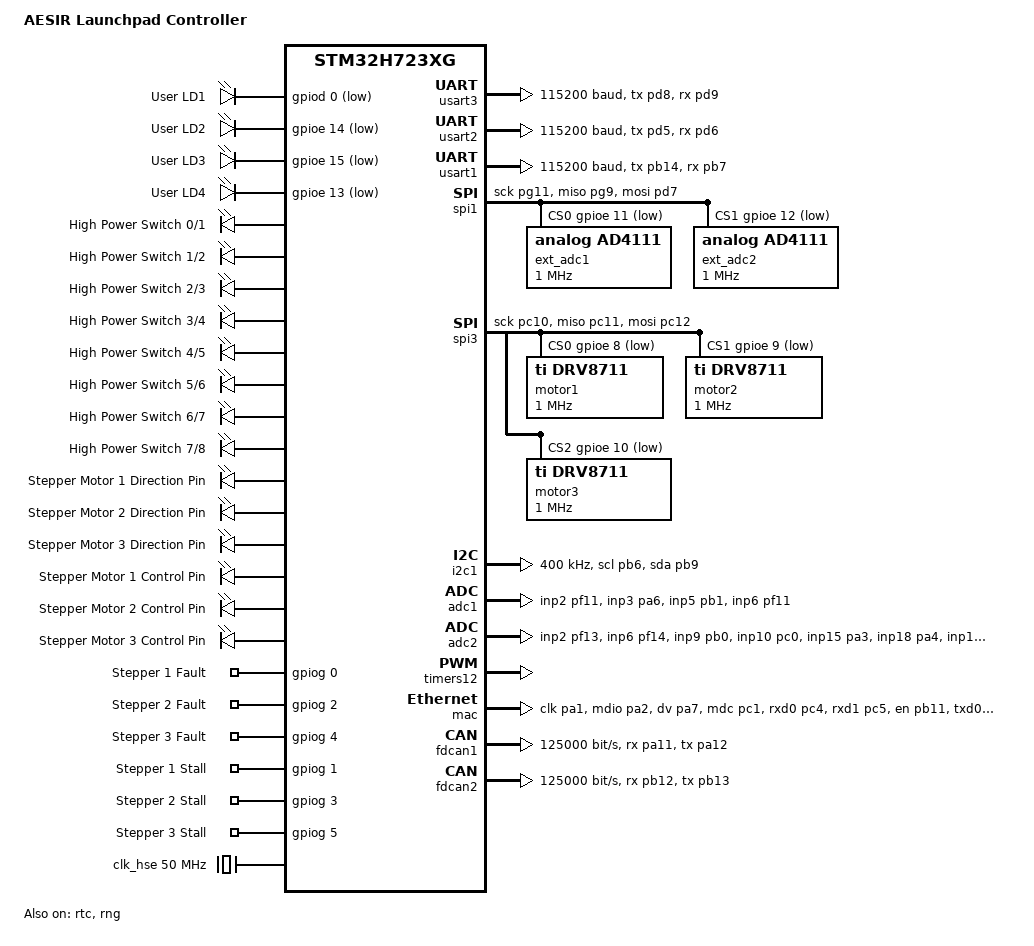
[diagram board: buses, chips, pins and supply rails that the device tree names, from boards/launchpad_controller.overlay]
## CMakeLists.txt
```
cmake_minimum_required(VERSION 3.20.0)

set(BOARD_ROOT ${CMAKE_CURRENT_LIST_DIR})

list(APPEND ZEPHYR_EXTRA_MODULES
    ${CMAKE_CURRENT_SOURCE_DIR}/modules/ad4111
    ${CMAKE_CURRENT_SOURCE_DIR}/modules/drv8711
)

find_package(Zephyr REQUIRED HINTS $ENV{ZEPHYR_BASE})
project(launchpad_controller)

#list(APPEND CMAKE_MODULE_PATH ${ZEPHYR_BASE}/modules/nanopb)
#include(nanopb)

# zephyr_nanopb_sources(app src/surtr.proto)

target_sources(app PRIVATE
    src/main.c
    src/actuation.c
    src/dhcp.c
    src/in.c
    src/packet.c
    src/server.c
    src/circbuf.c
    src/uart.c
)
```

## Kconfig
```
menu "Zephyr"
source "Kconfig.zephyr"
endmenu

config APP_LOG_LEVEL
    int "Application log level"
    default 0 if APP_LOG_LEVEL_OFF
    default 1 if APP_LOG_LEVEL_ERR
    default 2 if APP_LOG_LEVEL_WRN
    default 3 if APP_LOG_LEVEL_INF
    default 4 if APP_LOG_LEVEL_DBG
    default 4
    depends on LOG
```

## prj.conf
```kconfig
# CONFIG_THREAD_ANALYZER=y
# CONFIG_THREAD_ANALYZER_USE_PRINTK=y
# CONFIG_THREAD_NAME=y
# CONFIG_THREAD_ANALYZER_AUTO=y
# CONFIG_THREAD_ANALYZER_AUTO_INTERVAL=5

CONFIG_LOG=y
#CONFIG_LOG_MODE_DEFERRED=y      # Deferred means threads are prioritized
#CONFIG_LOG_BUFFER_SIZE=4096     # Has to be set together with Deferred.
CONFIG_LOG_MODE_IMMEDIATE=y    # Prints are prioritized, will make buffer useless.
CONFIG_APP_LOG_LEVEL=4
CONFIG_DEBUG=y
# CONFIG_DEBUG_OPTIMIZATIONS=y

# CONFIG_ISR_STACK_SIZE=4096

CONFIG_ZBUS=y

CONFIG_CRC=y

CONFIG_COMPILER_OPT="-Wno-double-promotion"

# General config
CONFIG_REQUIRES_FULL_LIBC=y

# Networking config
CONFIG_NETWORKING=y
CONFIG_NET_IPV4=y
CONFIG_NET_IPV6=y
CONFIG_NET_ARP=y
CONFIG_NET_UDP=y
CONFIG_NET_TCP=y
CONFIG_NET_SOCKETS=y
CONFIG_POSIX_API=y
CONFIG_NET_DHCPV4=y
CONFIG_NET_DHCPV4_OPTION_CALLBACKS=y
CONFIG_DNS_RESOLVER=y
CONFIG_MDNS_RESPONDER=y

CONFIG_NET_HOSTNAME_ENABLE=y
CONFIG_NET_HOSTNAME_UNIQUE=n
CONFIG_NET_HOSTNAME="surtr"

CONFIG_NET_MGMT=y
CONFIG_NET_MGMT_EVENT=y

# Network driver config
CONFIG_TEST_RANDOM_GENERATOR=y

CONFIG_NANOPB=y

# Networking tweaks
# Required to handle large number of consecutive connections,
# e.g. when testing with ApacheBench.
# CONFIG_NET_TCP_TIME_WAIT_DELAY=0

# Network debug config
CONFIG_NET_LOG=y
CONFIG_NET_SHELL=y

# TODO: Possibly required to change to this with new Zephyr POSIX API config, review
# CONFIG_POSIX_C_LIB_EXT=y
# CONFIG_POSIX_AEP_CHOICE_PSE53=y

CONFIG_SPI=y

# Sensor config
CONFIG_SENSOR=y
# CONFIG_SENSOR_LOG_LEVEL_DBG=y

# CONFIG_NET_CONFIG_SETTINGS=y
# CONFIG_NET_CONFIG_NEED_IPV4=y
# CONFIG_NET_CONFIG_NEED_IPV6=y
# CONFIG_NET_CONFIG_MY_IPV4_ADDR="192.0.2.1"
# CONFIG_NET_CONFIG_PEER_IPV4_ADDR="192.0.2.2"

CONFIG_NET_SOCKETS_POLL_MAX=8


CONFIG_HEAP_MEM_POOL_SIZE=50000
CONFIG_MAIN_STACK_SIZE=16384
```

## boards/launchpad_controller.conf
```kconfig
CONFIG_SERIAL=y
CONFIG_UART_INTERRUPT_DRIVEN=y
CONFIG_CONSOLE=y
CONFIG_UART_CONSOLE=y

CONFIG_LOG=y
CONFIG_CBPRINTF_FP_SUPPORT=y

CONFIG_FPU=y
CONFIG_FPU_SHARING=y

CONFIG_SERIAL=y
# CONFIG_UART_INTERRUPT_DRIVEN=y
CONFIG_UART_WIDE_DATA=y
CONFIG_CONSOLE=y
CONFIG_UART_CONSOLE=y
CONFIG_POLL=y
```

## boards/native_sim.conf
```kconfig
CONFIG_ETH_NATIVE_POSIX=n
CONFIG_NET_DRIVERS=y
CONFIG_NET_SOCKETS=y
CONFIG_NET_SOCKETS_OFFLOAD=y
CONFIG_NET_NATIVE_OFFLOADED_SOCKETS=y
CONFIG_HEAP_MEM_POOL_SIZE=1024

# IPv6 DAD requires lower level network interface access, below exposed socket-level access
CONFIG_NET_IPV6_DAD=n
```

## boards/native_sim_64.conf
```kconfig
# CONFIG_ETH_NATIVE_POSIX=y
# CONFIG_NET_DRIVERS=y
# CONFIG_NET_SOCKETS=y
# CONFIG_NET_SOCKETS_OFFLOAD=y
#CONFIG_NET_NATIVE_OFFLOADED_SOCKETS=y
CONFIG_HEAP_MEM_POOL_SIZE=4096

CONFIG_EMUL=y

# SPI configuration
CONFIG_SPI=y
CONFIG_SPI_EMUL=y

# GPIO configuration
CONFIG_GPIO=y

# ADC configuration
CONFIG_ADC=y
CONFIG_ADC_INIT_PRIORITY=50

# CONFIG_SYS_CLOCK_TICKS_PER_SEC = 1000000

CONFIG_ASAN=y
CONFIG_UBSAN=y

CONFIG_NET_CONFIG_SETTINGS=y
CONFIG_NET_CONFIG_NEED_IPV4=y
CONFIG_NET_CONFIG_NEED_IPV6=y
CONFIG_NET_CONFIG_MY_IPV4_ADDR="192.0.2.1"
CONFIG_NET_CONFIG_PEER_IPV4_ADDR="192.0.2.2"
```

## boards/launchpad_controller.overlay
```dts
/*
 * Copyright (c) 2020 Alexander Kozhinov <AlexanderKozhinov@yandex.com>
 * SPDX-License-Identifier: Apache-2.0
 */

 /dts-v1/;
 #include <st/h7/stm32h723Xg.dtsi>
 #include <st/h7/stm32h723zgtx-pinctrl.dtsi>
 #include <zephyr/dt-bindings/input/input-event-codes.h>
 
 /*
  * WARNING:
  * JP6 and SB72 must be ON when using Ethernet.
  */
 
 / {
     model = "AESIR Launchpad Controller";
     compatible = "st,launchpad_controller";
 
     chosen {
         zephyr,console = &usart3; /* TODO: change to whatever ST-LINK uses */
         zephyr,shell-uart = &usart3; /* TODO: same? or maybe usart1 */
         zephyr,dtcm = &dtcm;
         zephyr,sram = &sram0;
         zephyr,flash = &flash0;
     };
 
     leds: leds {
         compatible = "gpio-leds";
         green_led: led_0 {
             gpios = <&gpiod 0 GPIO_ACTIVE_LOW>;
             label = "User LD1";
         };
         yellow_led: led_1 {
             gpios = <&gpioe 14 GPIO_ACTIVE_LOW>;
             label = "User LD2";
         };
         red_led: led_2 {
             gpios = <&gpioe 15 GPIO_ACTIVE_LOW>;
             label = "User LD3";
         };
         blue_led: led_3 {
             gpios = <&gpioe 13 GPIO_ACTIVE_LOW>;
             label = "User LD4";
         };
     };
 
     switches: switches {
         compatible = "gpio-leds"; /* why is this driver called LEDs lol */
         /* TODO: rewrite to have switches numbered by physical placement */
         switch0: switch_0 {
             gpios <&gpiod 8 GPIO_ACTIVE_HIGH>;
             label = "High Power Switch 0/1";
         };
         switch1: switch_1 {
             gpios <&gpiod 9 GPIO_ACTIVE_HIGH>;
             label = "High Power Switch 1/2";
         };
         switch2: switch_2 {
             gpios <&gpiod 10 GPIO_ACTIVE_HIGH>;
             label = "High Power Switch 2/3";
         };
         switch3: switch_3 {
             gpios <&gpiod 11 GPIO_ACTIVE_HIGH>;
             label = "High Power Switch 3/4";
         };
         switch4: switch_4 {
             gpios <&gpiod 12 GPIO_ACTIVE_HIGH>;
             label = "High Power Switch 4/5";
         };
         switch5: switch_5 {
             gpios <&gpiod 13 GPIO_ACTIVE_HIGH>;
             label = "High Power Switch 5/6";
         };
         switch6: switch_6 {
             gpios <&gpiod 14 GPIO_ACTIVE_HIGH>;
             label = "High Power Switch 6/7";
         };
         switch7: switch_7 {
             gpios <&gpiod 15 GPIO_ACTIVE_HIGH>;
             label = "High Power Switch 7/8";
         };
     };
 
     /*
     pwmleds {
         compatible = "pwm-leds";
 
         red_pwm_led: red_pwm_led {
             pwms = <&pwm12 1 PWM_MSEC(20) PWM_POLARITY_NORMAL>;
             label = "User LD3 - PWM12";
         };
     };
     */
 
     stepctrls : stepper_controls {
         compatible = "gpio-leds";
         step1_dir : stepper1_direction {
             gpios <&gpiod 2 GPIO_ACTIVE_HIGH>;
             label = "Stepper Motor 1 Direction Pin";			
         };
 
         step2_dir : stepper2_direction {
             gpios <&gpiod 4 GPIO_ACTIVE_HIGH>;
             label = "Stepper Motor 2 Direction Pin";			
         };
 
         step3_dir : stepper3_direction {
             gpios <&gpiod 6 GPIO_ACTIVE_HIGH>;
             label = "Stepper Motor 3 Direction Pin";			
         };
 
         step1_ctrl : stepper1_control {
             gpios <&gpiod 1 GPIO_ACTIVE_HIGH>;
             label = "Stepper Motor 1 Control Pin";			
         };
 
         step2_ctrl : stepper2_control {
             gpios <&gpiod 3 GPIO_ACTIVE_HIGH>;
             label = "Stepper Motor 2 Control Pin";			
         };
 
         step3_ctrl : stepper3_control {
             gpios <&gpiod 5 GPIO_ACTIVE_HIGH>;
             label = "Stepper Motor 3 Control Pin";			
         };
     };
 
     // gpio_keys {
     // 	compatible = "gpio-keys";
     // 	user_button: button_0 {
     // 		label = "User";
     // 		gpios = <&gpioc 13 GPIO_ACTIVE_HIGH>;
     // 		zephyr,code = <INPUT_KEY_0>;
     // 	};
     // };
 
     step_states : stepper_state_pins {
         compatible = "gpio-keys"; // TODO: change to a more generic GPIO input driver? 
         step1_nFault : stepper1_state1 {
             label = "Stepper 1 Fault";
             gpios = <&gpiog 0 GPIO_ACTIVE_HIGH>;
         };
         step2_nFault : stepper2_state1 {
             label = "Stepper 2 Fault";
             gpios = <&gpiog 2 GPIO_ACTIVE_HIGH>;
         };
         step3_nFault : stepper3_state1 {
             label = "Stepper 3 Fault";
             gpios = <&gpiog 4 GPIO_ACTIVE_HIGH>;
         };
 
         step1_nFault : stepper1_state2 {
             label = "Stepper 1 Stall";
             gpios = <&gpiog 1 GPIO_ACTIVE_HIGH>;
         };
         step2_nFault : stepper2_state2 {
             label = "Stepper 2 Stall";
             gpios = <&gpiog 3 GPIO_ACTIVE_HIGH>;
         };
         step3_nFault : stepper3_state2 {
             label = "Stepper 3 Stall";
             gpios = <&gpiog 5 GPIO_ACTIVE_HIGH>;
         };
     }
 
     aliases {
         led0 = &green_led;
         led1 = &yellow_led;
         led2 = &red_led;
         led3 = &blue_led;
         /* pwm-led0 = &red_pwm_led; */
         sw0 = &user_button;
     };
 };
 
 &clk_lsi {
     status = "okay";
 };
 
 &clk_hsi48 {
     status = "okay";
 };
 
 &clk_hse {
     hse-bypass;
     clock-frequency = <DT_FREQ_M(50)>; /* 50MHz oscillator */
     status = "okay";
 };
 
 &clk_lse {
     status = "okay";
 };
 
 &pll {
     div-m = <4>;
     mul-n = <275>;
     div-p = <1>;
     div-q = <4>;
     div-r = <2>;
     clocks = <&clk_hse>;
     status = "okay";
 };
 
 // TODO: fix according to
 &rcc {
     clocks = <&pll>;
     clock-frequency = <DT_FREQ_M(550)>;
     d1cpre = <1>;
     hpre = <2>;    /* HCLK: 275   MHz */
     d1ppre = <2>;  /* APB1: 137.5 MHz */
     d2ppre1 = <2>; /* APB2: 137.5 MHz */
     d2ppre2 = <2>; /* APB3: 137.5 MHz */
     d3ppre = <2>;  /* APB4: 137.5 MHz */
 };
 
 &usart3 {
     pinctrl-0 = <&usart3_tx_pd8 &usart3_rx_pd9>;
     pinctrl-names = "default";
     current-speed = <115200>;
     status = "okay";
 };
 
 &usart2 {
     pinctrl-0 = <&usart2_tx_pd5 &usart2_rx_pd6>;
     pinctrl-names = "default";
     current-speed = <115200>;
     status = "okay";
 };
 
 
 /* TODO: can't use USART1! Check CubeMX and fix */
 &usart1 {
     pinctrl-0 = <&usart1_tx_pb14 &usart1_rx_pb7>;
     pinctrl-names = "default";
     current-speed = <115200>;
     status = "okay";
 };
 
 
 &rtc {
     clocks = <&rcc STM32_CLOCK_BUS_APB4 0x00010000>,
          <&rcc STM32_SRC_LSI RTC_SEL(2)>;
     status = "okay";
 };
 
 // spi1 is for the ADCs
 // ADC1_CS on PE11, ADC2_CS on PE12
 &spi1 {
     status = "okay";
     pinctrl-0 = <&spi1_sck_pg11 &spi1_miso_pg9 &spi1_mosi_pd7>;
     pinctrl-names = "default";
     cs-gpios = <&gpioe 11 (GPIO_ACTIVE_LOW | GPIO_PULL_UP)>,
      <&gpioe 12 (GPIO_ACTIVE_LOW | GPIO_PULL_UP)>;
 
     ext_adc1: ad4111_1@0 {
         compatible="analog,ad4111";
         reg = <0>; // should be referring to the CS line??
         spi-max-frequency = <1000000>; // TODO: randomly 1MHz, verify with datasheet
     };
 
     ext_adc2: ad4111_2@1 {
         compatible="analog,ad4111";
         reg = <1>; // should be referring to the CS line??
         spi-max-frequency = <1000000>; // TODO: randomly 1MHz, verify with datasheet
     };
 };
 
 // spi3 is for the stepper drivers
 // MOTOR1_SCS on PE8 MOTOR2_SCS on PE9 MOTOR3_SCS on PE10 
 &spi3 {
     status = "okay";
     pinctrl-0 = <&spi3_sck_pc10 &spi1_miso_pc11 &spi1_mosi_pc12>;
     pinctrl-names = "default";
     cs-gpios = <&gpioe 8 (GPIO_ACTIVE_LOW | GPIO_PULL_UP)>,
      <&gpioe 9 (GPIO_ACTIVE_LOW | GPIO_PULL_UP)>,
      <&gpioe 10 (GPIO_ACTIVE_LOW | GPIO_PULL_UP)>;
     
     motor1 : motor36v4_1@0 {
         compatible="ti,drv8711";
         reg = <0>;
         spi-max-frequency=<1000000>;
     };
 
     motor2 : motor36v4_2@1 {
         compatible="ti,drv8711";
         reg = <1>;
         spi-max-frequency=<1000000>;
     };
 
     motor3 : motor36v4_3@2 {
         compatible="ti,drv8711";
         reg = <2>;
         spi-max-frequency=<1000000>;
     };
 };
 
 
 // spi5 is exposed on the header. can be used later, disabled for now
 &spi5 {
     status = "disabled";
     pinctrl-0 = <&spi5_sck_pf7 &spi5_miso_pf8 &spi5_mosi_pf9>;
     pinctrl-names = "default";
     cs-gpios = <&gpioe 8 (GPIO_ACTIVE_LOW | GPIO_PULL_UP)>,
      <&gpioe 9 (GPIO_ACTIVE_LOW | GPIO_PULL_UP)>,
      <&gpioe 10 (GPIO_ACTIVE_LOW | GPIO_PULL_UP)>;
 };
 
 
 /* checked */
 &i2c1 {
     pinctrl-0 = <&i2c1_scl_pb6 &i2c1_sda_pb9>;
     pinctrl-names = "default";
     status = "okay";
     clock-frequency = <I2C_BITRATE_FAST>;
 };
 
 /* checked */
 // i2c2 is exposed on the header. can be used later, disabled for now
 &i2c2 {
     pinctrl-0 = <&i2c2_scl_pf1 &i2c2_sda_pf0>;
     pinctrl-names = "default";
     status = "disabled";
     clock-frequency = <I2C_BITRATE_FAST>;
 };
 
 // TODO: check how to define single-ended ADC measurement
 &adc1 {
     pinctrl-0 = <&adc1_inp2_pf11 &adc1_inp3_pa6 &adc1_inp5_pb1 &adc1_inp6_pf11>;
     pinctrl-names = "default";
 
     // #address-cells = <1>;
     // #size-cells = <0>;
     // status = "okay";
     st,adc-clock-source = < 1 >; // TODO: review which clock source this refers to
     st,adc-prescaler = < 1 >;
 
     // channel@F {
     // 	reg = <15>; //15
     // 	zephyr,gain = "ADC_GAIN_1";
     // 	zephyr,reference = "ADC_REF_INTERNAL";
     // 	zephyr,acquisition-time = <ADC_ACQ_TIME_DEFAULT>;
     // 	zephyr,resolution = <14>;
     // 	zephyr,oversampling = <4>;
     // 	status = "okay";
     // };
 };
 
 &adc2 {
     pinctrl-0 = <&adc2_inp2_pf13 &adc2_inp6_pf14
     &adc2_inp9_pb0 &adc2_inp10_pc0
     &adc2_inp15_pa3 &adc2_inp18_pa4
     &adc2_inp19_pa5>;
     pinctrl-names = "default";
 
     // #address-cells = <1>;
     // #size-cells = <0>;
     // status = "okay";
     st,adc-clock-source = < 1 >; // TODO: review which clock source this refers to
     st,adc-prescaler = < 1 >;
 
     // channel@F {
     // 	reg = <15>; //15
     // 	zephyr,gain = "ADC_GAIN_1";
     // 	zephyr,reference = "ADC_REF_INTERNAL";
     // 	zephyr,acquisition-time = <ADC_ACQ_TIME_DEFAULT>;
     // 	zephyr,resolution = <14>;
     // 	zephyr,oversampling = <4>;
     // 	status = "okay";
     // };
 };
 
 &adc3 {
     // #address-cells = <1>;
     // #size-cells = <0>;
     // status = "okay";
     // st,adc-prescaler = <1>;
 
     // channel@F {
     // 	reg = <15>; //15
     // 	zephyr,gain = "ADC_GAIN_1";
     // 	zephyr,reference = "ADC_REF_INTERNAL";
     // 	zephyr,acquisition-time = <ADC_ACQ_TIME_DEFAULT>;
     // 	zephyr,resolution = <14>;
     // 	zephyr,oversampling = <4>;
     // 	status = "okay";
     // };
 };
 
 
 &backup_sram {
     status = "okay";
 };
 
 &timers12 {
     st,prescaler = <10000>;
     status = "okay";
 
     pwm12: pwm {
         status = "okay";
         pinctrl-0 = <&tim12_ch1_pb14>;
         pinctrl-names = "default";
     };
 };
 
 /* checked, looks correct */
 &mac {
     status = "okay";
     pinctrl-0 = <&eth_ref_clk_pa1
              &eth_mdio_pa2
              &eth_crs_dv_pa7
              &eth_mdc_pc1
              &eth_rxd0_pc4
              &eth_rxd1_pc5
              &eth_tx_en_pb11
              &eth_txd0_pg13 /* TODO: POSSIBLE ERROR ON SCHEMATIC */
              &eth_txd1_pg12>; /* TODO: POSSIBLE ERROR ON SCHEMATIC,could have this as pg12 */
     pinctrl-names = "default";
 };
 
 &rng {
     status = "okay";
 };
 
 /* TODO: review clocks, pins checked*/
 &fdcan1 {
     clocks = <&rcc STM32_CLOCK_BUS_APB1_2 0x00000200>,
          <&rcc STM32_SRC_PLL1_Q FDCAN1_SEL(1)>;
     pinctrl-0 = <&fdcan1_rx_pa11 &fdcan1_tx_pa12>;
     pinctrl-names = "default";
     bus-speed = <125000>;
     bus-speed-data = <1000000>;
     status = "okay";
 };
 
 /* TODO: review clocks, pins checked*/
 &fdcan2 {
     clocks = <&rcc STM32_CLOCK_BUS_APB1_2 0x00000200>,
          <&rcc STM32_SRC_PLL1_Q FDCAN1_SEL(1)>;
     pinctrl-0 = <&fdcan2_rx_pb12 &fdcan2_tx_pb13>;
     pinctrl-names = "default";
     bus-speed = <125000>;
     bus-speed-data = <1000000>;
     status = "okay";
 };
```

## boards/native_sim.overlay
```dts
    &spi0 {
        compatible = "zephyr,spi-emul-controller";
        status = "okay";
        cs-gpios = <&gpio0 11 GPIO_ACTIVE_LOW>,
                   <&gpio0 12 GPIO_ACTIVE_LOW>;

        ad4111_1: ad4111@0 {
            compatible = "analog,ad4111";
            reg = <0>;
            spi-max-frequency = <1000000>;
            cs-gpios = <&gpio0 11 GPIO_ACTIVE_LOW>;
            status = "okay";
        };

        ad4111_2: ad4111@1 {
            compatible = "analog,ad4111";
            reg = <1>;
            spi-max-frequency = <1000000>;
            cs-gpios = <&gpio0 12 GPIO_ACTIVE_LOW>;
            status = "okay";
        };
    };
```

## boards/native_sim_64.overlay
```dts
/ {
    aliases {
		// led0 = &nled24_1;
		led0 = &nled24_2;
		// led0 = &sw1;
		// led1 = &nled24_2;
		led1 = &nled24_1;
		switch1 = &sw4;
		switch2 = &sw5;
		switch3 = &sw6;
		switch4 = &sw7;
		switch5 = &sw8;
		switch6 = &sw1;
		switch7 = &sw3;
		switch8 = &sw2;
		xadc1 = &ext_adc1;
		xadc2 = &ext_adc2;

		motor1 = &motor2;
		motor2 = &motor1;
		motor3 = &motor3;
		step1-ctrl = &step2_ctrl;
		step1-dir = &step2_dir;
		step2-ctrl = &step1_ctrl;
		step2-dir = &step1_dir;
		step3-ctrl = &step3_ctrl;
		step3-dir = &step3_dir;
	};

    ext_adc1: ext_adc1 {
        compatible = "analog,ad4111-dummy";
        status = "okay";
    };

    ext_adc2: ext_adc2 {
        compatible = "analog,ad4111-dummy";
        status = "okay";
    };

	motor1: motor1 {
		compatible = "ti,drv8711-dummy";
		status = "okay";
	};

	motor2: motor2 {
		compatible = "ti,drv8711-dummy";
		status = "okay";
	};

	motor3: motor3 {
		compatible = "ti,drv8711-dummy";
		status = "okay";
	};

    leds: leds {
		compatible = "gpio-leds";
		nled24_2: led_0 {
			gpios = <&gpio0 1 GPIO_ACTIVE_HIGH>;
			label = "User LD2, nLED24_2";
		};

		nled24_1: led_1 {
			gpios = <&gpio0 0 GPIO_ACTIVE_HIGH>;
			label = "User LD1, nLED24_1";
		};

		sw1: sw_1 {
			gpios = <&gpio0 6 GPIO_ACTIVE_HIGH>;
			label = "Switch 1";
		};

		sw2: sw_2 {
			gpios = <&gpio0 13 GPIO_ACTIVE_HIGH>;
			label = "Switch 2";
		};

		sw3: sw_3 {
			gpios = <&gpio0 14 GPIO_ACTIVE_HIGH>;
			label = "Switch 3";
		};

		sw4: sw_4 {
			gpios = <&gpio0 15 GPIO_ACTIVE_HIGH>;
			label = "Switch 4";
		};

		sw5: sw_5 {
			gpios = <&gpio0 8 GPIO_ACTIVE_HIGH>;
			label = "Switch 5";
		};

		sw6: sw_6 {
			gpios = <&gpio0 9 GPIO_ACTIVE_HIGH>;
			label = "Switch 6";
		};

		sw7: sw_7 {
			gpios = <&gpio0 10 GPIO_ACTIVE_HIGH>;
			label = "Switch 7";
		};

		sw8: sw_8 {
			gpios = <&gpio0 11 GPIO_ACTIVE_HIGH>;
			label = "Switch 8";
		};
	};

	stepctrls: stepper_controls {
		compatible = "gpio-leds";
		step1_dir: stepper1_direction {
			gpios = <&gpio0 6 GPIO_ACTIVE_HIGH>;
			label = "Stepper Motor 1 Direction Pin";
		};
		step2_dir: stepper2_direction {
			gpios = <&gpio0 15 GPIO_ACTIVE_HIGH>;
			label = "Stepper Motor 2 Direction Pin";
		};
		step3_dir: stepper3_direction {
			gpios = <&gpio0 4 GPIO_ACTIVE_HIGH>;
			label = "Stepper Motor 3 Direction Pin";
		};
		step1_ctrl: stepper1_control {
			gpios = <&gpio0 5 GPIO_ACTIVE_HIGH>;
			label = "Stepper Motor 1 Control Pin";
		};
		step2_ctrl: stepper2_control {
			gpios = <&gpio0 14 GPIO_ACTIVE_HIGH>;
			label = "Stepper Motor 2 Control Pin";
		};
		step3_ctrl: stepper3_control {
			gpios = <&gpio0 3 GPIO_ACTIVE_HIGH>;
			label = "Stepper Motor 3 Control Pin";
		};
	};
};
```

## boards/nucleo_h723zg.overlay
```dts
/* 
 * This overlay file is used to allow for compiling using a virtual nucleo_u575zi_q board.
 * The nucleo_u575zi_q board has the same MCU as we are using for the Surtr project.
 *
 */
/* 
 &gpioe {
    status = "okay";
};
*/

&spi0 {
    status = "okay";
    pinctrl-names = "default";
    pinctrl-0 = <&spi1_sck_pg11 &spi1_miso_pg9 &spi1_mosi_pd7>;
    cs-gpios = <&gpioe 11 GPIO_ACTIVE_LOW>,
               <&gpioe 12 GPIO_ACTIVE_LOW>;

    ext_adcx1: ad4111_1@0 {
        compatible = "analog,ad4111";
        reg = <0>; // Refers to the CS line
        spi-max-frequency = <1000000>; // Verify with datasheet
        status = "okay";
    };

    ext_adcx2: ad4111_2@1 {
        compatible = "analog,ad4111";
        reg = <1>; // Refers to the CS line
        spi-max-frequency = <1000000>; // Verify with datasheet
        status = "okay";
    };
};
/* 
&gpiog {
    spi1_sck_pg11: pinmux_spi1_sck_pg11 {
        gpio-hog;
        // pinmux = <STM32_PINMUX_PG11__SPI1_SCK>; // Issues with these rows - can I use some other command?
        bias-pull-up;
        drive-push-pull;
        status = "okay";
    };

    spi1_miso_pg9: pinmux_spi1_miso_pg9 {
        gpio-hog;
        // pinmux = <STM32_PINMUX_PG9__SPI1_MISO>;
        bias-pull-up;
        drive-push-pull;
        status = "okay";
    };
};

&gpiod {
    spi1_mosi_pd7: pinmux_spi1_mosi_pd7 {
        gpio-hog;
        // pinmux = <STM32_PINMUX_PD7__SPI1_MOSI>;
        bias-pull-up;
        drive-push-pull;
        status = "okay";
    };
};*/
```

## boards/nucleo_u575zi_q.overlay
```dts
/* 
 * This overlay file is used to allow for compiling using a virtual nucleo_u575zi_q board.
 * The nucleo_u575zi_q board has the same MCU as we are using for the Surtr project.
 *
 */
 &gpioe {
    status = "okay";

    spi1_sck_pg11: pinmux_spi1_sck_pg11 {
        pinmux = <STM32_PINMUX('G', 11, STM32_SPI1_SCK)>;
        bias-pull-up;
        drive-push-pull;
    };

    spi1_miso_pg9: pinmux_spi1_miso_pg9 {
        pinmux = <STM32_PINMUX('G', 9, STM32_SPI1_MISO)>;
        bias-pull-up;
        drive-push-pull;
    };

    spi1_mosi_pd7: pinmux_spi1_mosi_pd7 {
        pinmux = <STM32_PINMUX('D', 7, STM32_SPI1_MOSI)>;
        bias-pull-up;
        drive-push-pull;
    };
};

// spi1 is for the ADCs
// ADC1_CS on PE11, ADC2_CS on PE12
&spi1 {
    status = "okay";
    pinctrl-0 = <&spi1_sck_pg11 &spi1_miso_pg9 &spi1_mosi_pd7>;
    pinctrl-names = "default";
    cs-gpios = <&gpioe 11 (GPIO_ACTIVE_LOW | GPIO_PULL_UP)>,
               <&gpioe 12 (GPIO_ACTIVE_LOW | GPIO_PULL_UP)>;

    ext_adc1: ad4111_1@0 {
        compatible = "analog,ad4111";
        reg = <0>; // Refers to the CS line
        spi-max-frequency = <1000000>; // Verify with datasheet
        cs-gpios = <&gpioe 11 (GPIO_ACTIVE_LOW | GPIO_PULL_UP)>;
        status = "okay";
    };

    ext_adc2: ad4111_2@1 {
        compatible = "analog,ad4111";
        reg = <1>; // Refers to the CS line
        spi-max-frequency = <1000000>; // Verify with datasheet
        cs-gpios = <&gpioe 12 (GPIO_ACTIVE_LOW | GPIO_PULL_UP)>;
        status = "okay";
    };
};
```

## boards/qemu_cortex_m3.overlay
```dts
/ {
    chosen {
        zephyr,console = &uart0;
    };
};

&uart0 {
    status = "okay";
    current-speed = <115200>;
};

&spi1 {
    compatible = "zephyr,spi-emul";
    status = "okay";
    cs-gpios = <&gpioa 4 GPIO_ACTIVE_LOW>;
};

&mock_spi {
    compatible = "zephyr,spi-emul";
    status = "okay";
    label = "mock_spi";
};
```

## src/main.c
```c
#include <zephyr/kernel.h>
#include <zephyr/drivers/gpio.h>
#include <zephyr/logging/log.h>
#include <zephyr/drivers/uart.h>
#include <zephyr/device.h>
#include <drv8711.h>
#include <ad4111.h>
#include "circbuf.h"
#include "server.h"
#include "packet.h"
#include "dhcp.h"
#include "in.h"
#include "uart.h"

/* ========================================================== */
/* =			GLOBAL CONSTANT DEFINITIONS					= */
/* ========================================================== */
#define ETHERNET_THREAD_STACK_SIZE 		4096
#define ETHERNET_THREAD_PRIORITY		1

#define UART_THREAD_STACK_SIZE 			4096
#define UART_THREAD_PRIORITY			1	// Highest priority.

#define SENSOR_THREAD_STACK_SIZE 		4096
#define SENSOR_THREAD_PRIORITY			2	
#define SENSOR_THREAD_PERIOD			1000

#define BLINKER_THREAD_STACK_SIZE 	1024
#define BLINKER_THREAD_PRIORITY		5
#define BLINKER_THREAD_PERIOD		1000
#define THREAD_EMPTYARG 			void*

#define NUM_EXT_ADC					2
#define NUM_ADC_CHANNELS			24
#define ADC_ARRAY_BYTE_SIZE			96
#define NUM_CHANNELS_PER_ADC		12
#define NUM_STEPPERS				1	// board can hold 3.
#define NUM_LEDS 					2
#define NUM_SWITCHES 				8
#define MOTOR_CURRENT_I_LIMIT		2000
#define MOTOR1_INDEX				0

#define MSG_SIZE					128
#define MSGQ_BACKLOG				4
#define MSGQ_ALIGN					1	// default by zephyr.
#define STANDARD_BAUDRATE			115200

#define SURTR_REQUEST_SYN_ACK       0
#define SURTR_REQUEST_SW_CTRL       1
#define SURTR_REQUEST_STEP_CTRL     2
#define SURTR_REQUEST_STATE     	3
#define SURTR_REQUEST_IGNITION      5

#define SURTR_MSG_SW_CTRL_INDEX_CMD			0
#define SURTR_MSG_SW_CTRL_INDEX_ID			1
#define SURTR_MSG_SW_CTRL_INDEX_STATE		2

#define SURTR_MSG_STEP_CTRL_INDEX_CMD		0
#define SURTR_MSG_STEP_CTRL_INDEX_ID		1
#define SURTR_MSG_STEP_CTRL_INDEX_STATE		2

#define SURTR_MSG_ACK_SUCCESS   	0xFF
#define SURTR_MSG_ACK_FAIL			0x00

#define SURTR_RESPONSE_INDEX_ID		0
#define SURTR_RESPONSE_INDEX_METHOD	1
#define SURTR_RESPONSE_INDEX_TIME	2
#define SURTR_RESPONSE_INDEX_CMD	10
#define SURTR_RESPONSE_INDEX_ACK	11
#define SURTR_RESPONSE_INDEX_DATA	12


/* https://www.cs.yale.edu/homes/aspnes/pinewiki/C(2f)Macros.html */
#define FATALERROR(...) \
	do { \
		LOG_ERR(__VA_ARGS__); \
		kernel_exit(); \
	} while (0)

LOG_MODULE_REGISTER(main, CONFIG_APP_LOG_LEVEL);

/* ========================================================== */
/* =				DEVICE DEFINITIONS						= */
/* ========================================================== */
/* AD4111 devices drivers initialized by zephyr on boot.      */
/* DRV8711 devices drivers initialized by zephyr on boot.     */
/* UART has to be *const pointer.  UART4 on board.            */
const struct device *adcs[] = {
	DEVICE_DT_GET(DT_ALIAS(xadc1)),
	DEVICE_DT_GET(DT_ALIAS(xadc2)),
};

const struct device *const uart_dev = 
    DEVICE_DT_GET(DT_ALIAS(external_uart));
    
const struct device *steppers[] = {
	DEVICE_DT_GET(DT_ALIAS(motor1)),
};
    
const struct gpio_dt_spec motor_dir_dt[] = {
	GPIO_DT_SPEC_GET(DT_ALIAS(step1_dir), gpios),
};

const struct gpio_dt_spec motor_step_dt[] = {
	GPIO_DT_SPEC_GET(DT_ALIAS(step1_ctrl), gpios),
};

const struct gpio_dt_spec leds[] = {
    GPIO_DT_SPEC_GET(DT_ALIAS(led0), gpios),
    GPIO_DT_SPEC_GET(DT_ALIAS(led1), gpios),
};

const struct gpio_dt_spec switches[] = {
    GPIO_DT_SPEC_GET(DT_ALIAS(switch1), gpios),
    GPIO_DT_SPEC_GET(DT_ALIAS(switch2), gpios),
    GPIO_DT_SPEC_GET(DT_ALIAS(switch3), gpios),
    GPIO_DT_SPEC_GET(DT_ALIAS(switch4), gpios),
    GPIO_DT_SPEC_GET(DT_ALIAS(switch5), gpios),
    GPIO_DT_SPEC_GET(DT_ALIAS(switch6), gpios),
    GPIO_DT_SPEC_GET(DT_ALIAS(switch7), gpios),
    GPIO_DT_SPEC_GET(DT_ALIAS(switch8), gpios), // This connects to port 3 on the board, for some reason
	/* comment above is not confirmed yet! 17/02-2026 */
};



/* ========================================================== */
/* =				DATA DEFINITIONS						= */
/* ========================================================== */
uint32_t adc[NUM_ADC_CHANNELS];
uint32_t motor_dir_state[NUM_STEPPERS];
uint8_t sw[NUM_SWITCHES];
uint8_t led[NUM_LEDS];

struct uart_config uart_config = {
	.baudrate = STANDARD_BAUDRATE,
	.data_bits = UART_CFG_DATA_BITS_8,
	.flow_ctrl = UART_CFG_FLOW_CTRL_NONE,
	.parity = UART_CFG_PARITY_NONE,
	.stop_bits = UART_CFG_STOP_BITS_1
};

Circbuf rx_circbuf;
uint8_t rx_buffer[MSG_SIZE];

/* ========================================================== */
/* =				THREAD DEFINITIONS						= */
/* ========================================================== */
// CONFIG_SCHED_SIMPLE ready queue will be simple unordered list.
// CONFIG_WAITQ_SIMPLE
struct k_thread uart_thread;
struct k_thread ethernet_thread;
struct k_thread blinker_thread;
struct k_thread sensor_thread;
k_tid_t uart_id;
k_tid_t ethernet_id;
k_tid_t blinker_id;
k_tid_t sensor_id;

K_THREAD_STACK_DEFINE(uart_stack, UART_THREAD_STACK_SIZE);
K_THREAD_STACK_DEFINE(ethernet_stack, ETHERNET_THREAD_STACK_SIZE);
K_THREAD_STACK_DEFINE(blinker_stack, BLINKER_THREAD_STACK_SIZE);
K_THREAD_STACK_DEFINE(sensor_stack, SENSOR_THREAD_STACK_SIZE);

/* ========================================================== */
/* =				TIMER DEFINITIONS						= */
/* ========================================================== */
struct k_timer sampling_timer;

/* ========================================================== */
/* =				SEMAPHORE DEFINITIONS					= */
/* ========================================================== */
struct k_sem sem_uart_irq;
struct k_sem sem_sampling_irq;

/* ========================================================== */
/* =				SERVER DEFINITIONS						= */
/* ========================================================== */
static struct Server server;
static struct Client client;
static uint8_t ethernet_connection;

/* ========================================================== */
/* =				MESSAGE QUEUE DEFINITIONS				= */
/* ========================================================== */
/* Zephyr M_MSGQ_DEFINE API reference:						  */
/* 	-	"Alignment of the message queue's ring buffer is 	  */
/*		not necessary, setting q_align to 1 is sufficient."	  */
/*	-	Defined statically, but can access in other files by: */
/*		extern struct k_msgq <name>;						  */
/* ========================================================== */
/* Defines Message Queue wmsq[4] where each message can be    */
/*  max 128 bytes long. 									  */
K_MSGQ_DEFINE(request_msgq, MSG_SIZE, MSGQ_BACKLOG, MSGQ_ALIGN);


/**
 * ==========================================================
 * send_message():
 * 		Encodes response in packet and sends out to both UART and ETH
 * 		If there is no ETH connection then skip Ethernet.
 */
int send_message(struct Client *client, uint8_t *response, uint8_t response_size)
{
    uint8_t tx_buffer[MSG_SIZE];
    uint8_t tx_size = 0;

	LOG_DBG("Send Message.\n");

    encode_packet(response, tx_buffer, response_size, &tx_size);
	LOG_DBG("response_size: %d\n", response_size);
	LOG_DBG("packet_size: %d\n", tx_size);

    if(!uart_send_message(tx_buffer, tx_size))
    {
        LOG_ERR("Send Message failed on UART.\n");
        return 0;
    }
	LOG_DBG("UART message sent.\n");

    if(!ethernet_connection)
        return 1;

    if(!ethernet_send_message(client, tx_buffer, tx_size))
    {
        LOG_ERR("Send Message failed on ETHERNET.\n");
        return 0;
    }

    return 1;
}

/**
 * ===============================================================
 * PARSE SURTR COMMAND
 * Unpacks message and updates data accordingly.
 * MSG TYPE		ENUM	TIME (us)		RAW DATA
 * ===============================================================
 * SYN_ACK			0					| ACK |
 * SW CTRL		    1					| ID | STATE |
 * STEP CTRL		2					| ID | MOTOR DELTA |
 * ADC/SW STATE		3					| ADC[24] | SW[8] |
 * IGNITION		    5					| PASSWORD |
 * 
 */
/**
 * ==========================================================
 * ask_server():
 *      Waits for job to be placed in queue by UART or ETH (CoAP protocol)
 *      Serve / Execute specific command.
 *      k_msgq_put(): 
 *      0        Success
 *      -ENOMSG  returned without waiting or queue purged.
 *      -EAGAIN  waiting period timed out
 */
void ask_server(struct Server *server, struct Client *client)
{
    LOG_DBG("Entering Server_main().\n");
    uint8_t payload_buffer[MSG_SIZE];
    uint8_t response[MSG_SIZE];
    uint8_t response_size = 0;

    while(1)
    {
		LOG_DBG("Ask server waiting for request.\n");
        if(k_msgq_get(&request_msgq, payload_buffer, K_FOREVER) != 0)
        {
            LOG_WRN("Message Queue failed to get item.\n");
            return 0;
        }
		LOG_DBG("Message Recieved from Request Queue.\n");

		/* -------- Mirror Request Unique ID -------------- */
		response[0] = payload_buffer[0];
        response_size++;

		/* -------- Mirror Request UART/ETH --------------- */
		response[1] = payload_buffer[1];
        response_size++;
        
		/* -------- Save Current Time --------------------- */
        int64_t ms_since_boot = k_uptime_get();
        memcpy(response+2, &ms_since_boot, sizeof(ms_since_boot));
        response_size += 8;

        /* -------- Save Command Requested ---------------- */
        const uint8_t cmd = payload_buffer[10];
        response[10] = cmd;
        response_size++;
		
		LOG_DBG("Unique ID: %d, Method: %d, CMD: %d\n", payload_buffer[0], payload_buffer[1], payload_buffer[10]);
                    
        /* -------- Add ACK after Command ----------------- */
		surtr_syn_ack(response, &response_size);

        /* -------- Execute Request Command --------------- */
        switch (cmd)
        {
            case SURTR_REQUEST_SYN_ACK:
					LOG_DBG("SURTR_REQUEST_SYN_ACK\n");
                break;

            case SURTR_REQUEST_SW_CTRL:
					LOG_DBG("SURTR_REQUEST_SW_CTRL\n");
                    if (!surtr_sw_ctrl(payload_buffer[11], payload_buffer[12]))
					{
						// ack failure.
						response[11] = 0x00;
					}
                break;

            case SURTR_REQUEST_STEP_CTRL:
                    surtr_step_ctrl(payload_buffer);
                break;

            case SURTR_REQUEST_IGNITION:
                    LOG_ERR("Ignition does nothing for now.\n");
                break;

            default:
                LOG_ERR("Invalid Surtr Command.\n");
                break;
        }

        /* -------- Send Response Back -------------------- */
        if(!send_message(client, response, response_size))
        {
            LOG_ERR("Send Message failed.\n");
        }

        /* -------- Reset Response ------------------------ */
		response_size = 0;
    }
}

/**
 * ==========================================================
 * uart_thread_main():
 *      Waits for IRQ to fire which releases counting semaphore (+1)
 *      Begins handling request sent over UART.
 *      Pass request via MSGQ to ask_server.
 */
void uart_thread_main(struct Client* client, THREAD_EMPTYARG, THREAD_EMPTYARG)
{
    LOG_DBG("UART Thread Enter.\n");
	uint8_t payload_size;
	uint8_t payload[MSG_SIZE];

	static struct uart_protocol ps;

    while(1)
    {
		if(!uart_handle_request(&rx_circbuf, &ps, &payload))
		{
            LOG_DBG("InThread Request Failed.\n");
			continue;
		}

		if(k_msgq_put(&request_msgq, payload, K_NO_WAIT) != 0)
		{
			LOG_WRN("UART: Message could not be placed on queue.");
			return 0;
		}

        LOG_DBG("UART Thread Request Handled.\n");
    }
}

/**
 * ==========================================================
 * ethernet_thread_main():
 *      When connection is established, thread will enter ethnernet_handle_request()
 *      and stay there until connection fails.
 *      Blocking read on recv().
 */
void ethernet_thread_main(struct Server *server, struct Client *client, THREAD_EMPTYARG)
{
    while(1)
    {
        ethernet_connection = 0;
        if(accept_connection(server, client))
        {
            ethernet_connection = 1;
            ethernet_handle_request(client);
            close(client->socket);
        }
            
        LOG_DBG("TCP accept connection failed.\n");
    }

}


/**
 * ==========================================================
 * blinker_main_thread():
 * 		PERIOD of 1000 msec
 * 		Turns LED on/off to indicate SURTR is alive.
 */
void blinker_thread_main(THREAD_EMPTYARG, THREAD_EMPTYARG, THREAD_EMPTYARG)
{
	uint8_t led_state = 0;
	while(1)
	{
		blink_leds(led_state);
		led_state = !led_state;
		k_msleep(BLINKER_THREAD_PERIOD);
	}
}

/**
 * ==========================================================
 * sensor_thread_main():
 * 		PERIOD of 100 ms
 * 		Construct response which includes timestamp, adc, sw
 * 		0		 1	    2	   
 * 		| UNIQID | CMD | TIME | ADC[0-23] | SW[0-7]
 * 		
 */
void sensor_thread_main(struct Client *client, THREAD_EMPTYARG, THREAD_EMPTYARG)
{
	uint8_t response[MSG_SIZE];
	uint8_t response_size = 0;
    const uint8_t cmd = 3;

	while(1)
	{
		/* -------- Wait for Timer IRQ -------------------- */
		k_sem_take(&sem_sampling_irq, K_FOREVER);

		LOG_DBG("Sensor Thread begin iteraiton.\n");

		/* -------- Sensor Sampling Unique ID ------------- */
		response[response_size] = 0xFF;
        response_size++;

		// Assumes UART for now?
		response[response_size] = 0x00;
        response_size++;
    
		/* -------- Save Current Time --------------------- */
        int64_t ms_since_boot = k_uptime_get();
        memcpy(response+2, &ms_since_boot, sizeof(ms_since_boot));
        response_size += 8;
        
		/* -------- Save Command Requested ---------------- */
        response[response_size] = cmd;
        response_size++;
                    
        /* -------- Add ACK after Command ----------------- */
		surtr_syn_ack(response, &response_size);

        /* -------- Read ADC / SW States ------------------ */
		surtr_get_adc_state(response, &response_size);
		surtr_get_sw_state(response, &response_size);
        
		/* -------- Send Response Back -------------------- */
        if(!send_message(client, response, response_size))
        {
            LOG_ERR("Send Message failed.\n");
        }
		LOG_DBG("Sensor Thread Message sent.\n");

        /* -------- Reset Response ------------------------ */
		response_size = 0;
	}
}

/**
 * ==========================================================
 * kernel_exit():
 * 		Infinite loop for stalling when dead.
 */
void kernel_exit() 
{
	while(1)
	{
		LOG_INF("Kernel kernel_exit loop.");
		k_sleep(K_FOREVER);
	}
}

/**
 * ==========================================================
 * main():
 * 	Initializes all devices (ADC ad4111, STEPPER drv8711)
 *	Initializes all gpios (switches, leds)
 */
int main()
{
	/* ------------- ADCS INITIALIZE -------------- */
	for(int i = 0; i < NUM_EXT_ADC; i++)
		if (!device_is_ready(adcs[i]))
			FATALERROR("External ADC device ready failed.");
    LOG_DBG("ADC initialized.\n");
	
	/* ------------- LEDS INITIALIZE -------------- */
	// Initializes LED GPIOs as outputs with initial state 0.
	for(int i = 0; i < NUM_LEDS; i++)
	{
		if(!gpio_is_ready_dt(&leds[i]))
			FATALERROR("LED GPIO ready failed.");

		if (gpio_pin_configure_dt(&leds[i], GPIO_OUTPUT_INACTIVE) < 0)
			FATALERROR("Switch GPIO configure failed.");
	}
    LOG_DBG("LEDS initialized.\n");

	/* ---------- SWITCHES INITIALIZE --------------- */
	// Initializes Switch GPIOs as outputs with initial state 0.
    for(int i = 0; i < NUM_SWITCHES; i++)
    {
		if (!gpio_is_ready_dt(&switches[i]))
			FATALERROR("Switch GPIO ready failed.");
		
		if (gpio_pin_configure_dt(&switches[i], GPIO_OUTPUT_INACTIVE) < 0)
			FATALERROR("Switch GPIO configure failed.");
    }
    LOG_DBG("Switches initialized.\n");
    
	/* ------- STEPPER MOTOR INITIALIZE ------------- */
	/* ------- MICROSTEP1 = 0b0000 ------------------ */
    /*
	for(int i = 0; i < NUM_STEPPERS; i++)
		if (!device_is_ready(steppers[i]))
		FATALERROR("Steppers device ready failed.");

    LOG_DBG("STEPPERS device ready.\n");
	for(int i = 0; i < NUM_STEPPERS; i++)
		if(gpio_pin_configure_dt(&motor_dir_dt[i], GPIO_OUTPUT) < 0)
			FATALERROR("Stepper Motor Dir configure failed.");
	
	for(int i = 0; i < NUM_STEPPERS; i++)
    	if(gpio_pin_configure_dt(&motor_step_dt[i], GPIO_OUTPUT) < 0)
			FATALERROR("Stepper Motor Step configure failed.");

    drv8711_set_current_limit(steppers[MOTOR1_INDEX], MOTOR_CURRENT_I_LIMIT);
    drv8711_set_microstep(steppers[MOTOR1_INDEX], MICROSTEP1);
    drv8711_enable(steppers[MOTOR1_INDEX], true);
    LOG_DBG("Motors drv8711 conifgured.\n");
    */

	/* ---------- UART INITIALIZE ------------------ */
	/* -- Only need to enable RX (PC to Surtr) ----- */
	/* -- TX (Surtr to PC) uses polling ------------ */
    if (!device_is_ready(uart_dev))
		FATALERROR("External UART failed.");
	
	if (uart_configure(uart_dev, &uart_config) < 0)
		FATALERROR("External UART configure failed.");

	memset(rx_buffer, 0, MSG_SIZE);
	circbuf_construct(&rx_circbuf, &rx_buffer, MSG_SIZE);

	if (uart_irq_callback_user_data_set(uart_dev, uart_isr, &rx_circbuf) < 0)
		FATALERROR("External UART ISR callback failed.");

	// Enable Interrupts before threads can be dangerous.
	uart_irq_rx_enable(uart_dev);
	// uart_irq_tx_enable(uart_dev);


	/* ---------- DHCP INITIALIZE ------------------ */
	if(initialize_dchp() != 0)
		FATALERROR("Initialized DCHP failed.");
    LOG_DBG("DCHP Initialized.\n");

	/* ---------- SERVER INITIALIZE ---------------- */
	// AF_INET = IPV4 	IPPROTO_TCP
	// SOCK_STREAM = TCP
	if(!server_constructor(&server, AF_INET, 
		SOCK_STREAM, IP, INADDR_ANY, PORT, BACKLOG))
		FATALERROR("Server failed to initialize.");
    LOG_DBG("Server Initialized.\n");
	
	/* ---------- SEMAPHORE INITIALIZE ------------- */
	k_timer_init(&sampling_timer, sampling_isr, NULL);
	k_timer_start(
		&sampling_timer, 
		K_MSEC(500), 
		K_MSEC(500));
	
	/* ---------- SEMAPHORE INITIALIZE ------------- */
	// initial = 0, count = 2 (2 threads);
    k_sem_init(&sem_uart_irq, 0, 5);
    k_sem_init(&sem_sampling_irq, 0, 1);
	
	/* ---------- RESET STATIC ARRAYS -------------- */
	/* Initialize adc[], sw[], led[] with zeroes */
	memset(motor_dir_state, 0, sizeof(motor_dir_state));
	memset(adc, 0, sizeof(adc));
	memset(sw, 0, sizeof(sw));
	memset(led, 0, sizeof(led));

	/* ---------- UART THREAD INITIALIZE ----------- */
	// All devices pass start threads.
	uart_id = k_thread_create(
		&uart_thread,
		uart_stack,
		K_THREAD_STACK_SIZEOF(uart_stack),
		uart_thread_main,
		&client,
		NULL,
		NULL,
		UART_THREAD_PRIORITY,
		0,
		K_NO_WAIT
	);
    LOG_DBG("UART Thread Initialized.\n");

	/* --------- ETHERNET THREAD INITIALIZE -------- */
	/*
	ethernet_id = k_thread_create(
		&ethernet_thread,
		ethernet_stack,
		K_THREAD_STACK_SIZEOF(ethernet_stack),
		ethernet_thread_main,
		&client,
		NULL,
		NULL,
		ETHERNET_THREAD_PRIORITY,
		0,
		K_NO_WAIT
	);
    LOG_DBG("ETHERNET Thread Initialized.\n");
	*/
	
	/* --------- BLINKER THREAD INITIALIZE -------- */
	blinker_id = k_thread_create(
		&blinker_thread,
		blinker_stack,
		K_THREAD_STACK_SIZEOF(blinker_stack),
		blinker_thread_main,
		NULL,
		NULL,
		NULL,
		BLINKER_THREAD_PRIORITY,
		0,
		K_NO_WAIT
	);
    LOG_DBG("BLINKER Thread Initialized.\n");
	
	/* --------- SENSOR THREAD INITIALIZE -------- */
	sensor_id = k_thread_create(
		&sensor_thread,
		sensor_stack,
		K_THREAD_STACK_SIZEOF(sensor_stack),
		sensor_thread_main,
		&client,
		NULL,
		NULL,
		SENSOR_THREAD_PRIORITY,
		0,
		K_NO_WAIT
	);
    LOG_DBG("SENSOR Thread Initialized.\n");
	
	ask_server(&server, &client);

	kernel_exit();
	return 0;
}
```

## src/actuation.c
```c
#include "actuation.h"

LOG_MODULE_REGISTER(actuation, CONFIG_APP_LOG_LEVEL);

/**
 * toggle_switch():
 *      Both gpio_pin_set_dt() and switch_states has to be updated.
 *      Toggles a single switch.
 */
void toggle_switch(int id, uint8_t state) 
{
    gpio_pin_set_dt(&switches[id - 1], state);
    sw[id - 1] = state;
}

/**
 * toggle_led(): 
 *      Toggles a single LED by configuring gpio and saving new state led data.
 */
void toggle_led(int id, uint8_t state) 
{
    gpio_pin_set_dt(&leds[id], state);
    led[id] = state;
}

/**
 * blink_leds(): 
 *      Toggles all LEDs by iterating in loop.
 */
void blink_leds(uint8_t state)
{
    for(int i = 0; i < NUM_LEDS; i++)
    {
        toggle_led(i, state);
    }
}

/**
 * read_adc():
 *      Collects first 12 adc values into adc[0-11] (ADC0)
 *      Then collects the last 12 adc values into adc[12-23] (ADC1)
 */
int read_adc(uint32_t *adc_val)
{
    for (int i = 0; i < NUM_CHANNELS_PER_ADC; i++) {
        if(ad4111_read_channel(adcs[ADC0_TAG], i, &adc_val[i]) != 0)
        {
            LOG_ERR("Error when reading ADC0");
            return 0;
        }
    }

    for (int i = 0; i < NUM_CHANNELS_PER_ADC; i++) {
        if(ad4111_read_channel(adcs[ADC1_TAG], i, &adc_val[i+NUM_CHANNELS_PER_ADC]) != 0)
        {
            LOG_ERR("Error when reading ADC1");
            return 0;
        }
    }

    return 1;
}

/**
 * update_stepper_motor():
 *      Delta is not performing the function a "delta" it is intead a TARGET VALUE...
 *      If current motor is lower than target then move forward.
 *      If current motor is higher than target then move backwards.
 *      Iterate until motor has stepped to target.
 *      Sleep 20 us between iteration to let motor breathe? not sure why?
 */
void update_stepper_motor(const int id, const uint32_t delta)
{
    while(1)
    {
        if(motor_dir_state[id] < delta)
        {
            gpio_pin_set_dt(&motor_dir_dt[id], 1);
            gpio_pin_set_dt(&motor_step_dt[id], 1);
            motor_dir_state[id] += FORWARD;
        }
        else if (motor_dir_state[id] > delta)
        {
            gpio_pin_set_dt(&motor_dir_dt[id], 0);
            gpio_pin_set_dt(&motor_step_dt[id], 1);
            motor_dir_state[id] += BACKWARD;
        }
        else 
        {
            // motor is equal to target.
            break;
        }

        k_usleep(MOTOR_PULSE_LENGTH_US);
    }
}
```

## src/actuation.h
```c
#pragma once
#ifndef ACTUATION_H
#define ACTUATION_H

#include <zephyr/kernel.h>
#include <zephyr/drivers/adc.h>
#include <zephyr/logging/log.h>
#include <zephyr/drivers/gpio.h>
#include <zephyr/device.h>
#include <ad4111.h>
#include <stdint.h>

#define NUM_LEDS                2
#define NUM_EXT_ADC				2
#define ADC0_TAG                0
#define ADC1_TAG                1
#define NUM_ADC_CHHANNELS		24
#define NUM_CHANNELS_PER_ADC	12
#define NUM_SWITCHES 			8
#define NUM_STEPPERS			1	// board can hold 3.
#define MOTOR_CURRENT_I_LIMIT	2000
#define MOTOR1_INDEX			0
#define MOTOR_PULSE_LENGTH_US   20
#define FORWARD                 1
#define BACKWARD                (-1)


/* Devices declared in main. */
extern const struct device *adcs[];
extern const struct device *steppers[];

/* GPIOs declared in main. */
extern const struct gpio_dt_spec leds[];
extern const struct gpio_dt_spec switches[];
extern const struct gpio_dt_spec motor_dir_dt[];
extern const struct gpio_dt_spec motor_step_dt[];

/* global data declared in main. */
extern uint32_t motor_dir_state[NUM_STEPPERS];
extern uint8_t sw[NUM_SWITCHES];
extern uint8_t led[NUM_LEDS];


/**
 * toggle_switch():
 *      Both gpio_pin_set_dt() and switch_states has to be updated.
 *      Toggles a single switch.
 */
void toggle_switch(int id, uint8_t state);

/**
 * toggle_led(): 
 *      Toggles a single LED 
 */
void toggle_led(int id, uint8_t state);

/**
 * blink_leds(): 
 *      Toggles all LEDs.
 */
void blink_leds(uint8_t state);

/**
 * read_adc():
 *      Collects first 12 adc values into adc[0-11] (ADC0)
 *      Then collects the last 12 adc values into adc[12-23] (ADC1)
 */
int read_adc(uint32_t *adc_val);

/**
 * update_stepper_motor():
 *      Delta is not performing the function a "delta" it is intead a TARGET VALUE...
 *      If current motor is lower than target then move forward.
 *      If current motor is higher than target then move backwards.
 *      Iterate until motor has stepped to target.
 *      Sleep 20 us between iteration to let motor breathe? not sure why?
 */
void update_stepper_motor(int id, const uint32_t delta);

#endif
```

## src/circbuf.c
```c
#include "circbuf.h"

/**
 * ==========================================================
 * circbuf_push():
 *      Push 1 byte into circular buffer and step +1 MOD maxlen.
 *      Buffer is full if head+1 = tail
 */
uint8_t circbuf_push(Circbuf *circ, uint8_t byte_in)
{
    uint8_t next;
    next = circ->head + 1;
    if(next >= circ->maxlen)
        next = 0;
    
    // Circular buffer is full.
    if(next == circ->tail)
        return 0;

    circ->buffer[circ->head] = byte_in;
    circ->head = next;
    return 1;
}

/**
 * ==========================================================
 * circbuf_pop():
 *      Takes 1 byte from circular buffer and tail +1 MOD maxlen
 *      Buffer is empty if head = tail
 *      return 0 if buffer is empty.
 */
uint8_t circbuf_pop(Circbuf *circ, uint8_t *byte_out)
{
    uint8_t next;
    if(circ->head == circ->tail)
        return 0;

    next = circ->tail + 1;
    if(next >= circ->maxlen)
        next = 0;

    *byte_out = circ->buffer[circ->tail];
    circ->tail = next;
    return 1;
}

/**
 * ==========================================================
 * construct_circbuf():
 *      Initializes statically declared circbuf.
 */
void circbuf_construct(Circbuf *circbuf, uint8_t *const buffer, const uint8_t maxlen)
{
    circbuf->buffer = buffer;
    circbuf->head = 0;
    circbuf->tail = 0;
    circbuf->maxlen = maxlen;
}
```

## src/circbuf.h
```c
#ifndef CIRCBUF_H
#define CIRCBUF_H

#include <stdint.h>

typedef struct {
    uint8_t *buffer;
    uint8_t head;
    uint8_t tail;
    uint8_t maxlen;

} Circbuf;


/**
 * ==========================================================
 * circbuf_push():
 *      Push 1 byte into circular buffer and step +1 MOD maxlen.
 *      Buffer is full if head+1 = tail
 */
uint8_t circbuf_push(Circbuf *circ, uint8_t byte_in);

/**
 * ==========================================================
 * circbuf_pop():
 *      Takes 1 byte from circular buffer and tail +1 MOD maxlen
 *      Buffer is empty if head = tail  (return 0)
 */
uint8_t circbuf_pop(Circbuf *circ, uint8_t *byte_out);

/**
 * ==========================================================
 * construct_circbuf():
 *      Initializes statically declared circbuf.
 */
void circbuf_construct(Circbuf *circbuf, uint8_t *buffer, const uint8_t maxlen);

#endif
```

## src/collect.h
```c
#pragma once
#ifndef COLLECT_H
#define COLLECT_H

#include <stdint.h>
#include <zephyr/logging/log.h>
#include <zephyr/drivers/gpio.h>
#include <zephyr/device.h>
#include <zephyr/kernel.h>
#include "actuation.h"
#include "packet.h"

/* Write Message Queue declared in main. */
extern struct k_msgq write_msgq;

/**
 * Collect_adc():
 *      Sub-routine for ADC thread. 
 *      Reads adc values into array, creates a message and places it on queue.
 */
int collect_adc(uint32_t *adc_val, Msg *msg);

/**
 * Collect_sw():
 *      Sub-routine for ADC thread. 
 *      Creates msg with current SW states.
 *      Should also read motor1 and motor2 states.
 */
int collect_sw(uint32_t *sw, Msg *msg);

#endif
```

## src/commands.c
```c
void handle_surtr_message() {

}
```

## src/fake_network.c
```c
#include "networking.h"
```

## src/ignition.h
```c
void start_ignition_sequence();
```
